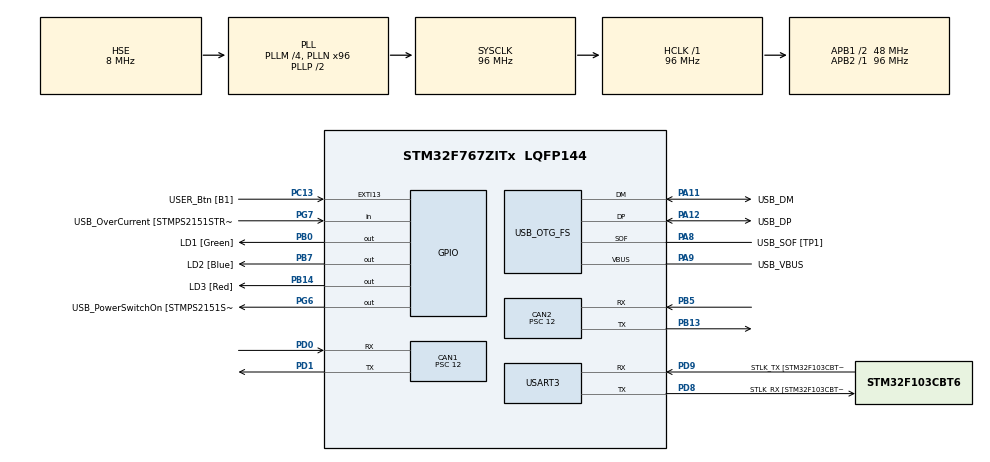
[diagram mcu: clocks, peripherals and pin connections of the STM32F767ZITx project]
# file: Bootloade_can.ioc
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CAN1.BS1=CAN_BS1_13TQ
CAN1.BS2=CAN_BS2_2TQ
CAN1.CalculateBaudRate=250000
CAN1.CalculateTimeBit=4000
CAN1.CalculateTimeQuantum=250.0
CAN1.Prescaler=12
CAN2.BS1=CAN_BS1_13TQ
CAN2.BS2=CAN_BS2_2TQ
CAN2.CalculateBaudRate=250000
CAN2.CalculateTimeBit=4000
CAN2.CalculateTimeQuantum=250.0
CAN2.Prescaler=12
FREERTOS.Tasks01=defaultTask,0,128,StartDefaultTask,Default,NULL,Dynamic,NULL,NULL;myTask02,0,128,StartTask02,Default,NULL,Dynamic,NULL,NULL
FREERTOS.configUSE_NEWLIB_REENTRANT=1
Mcu.Family=STM32F7
Mcu.Name=STM32F767ZITx
Mcu.Package=LQFP144
NVIC.PriorityGroup=NVIC_PRIORITYGROUP_4
NVIC.TIM4_IRQn=true\:15\:0\:false\:false\:true\:false\:false\:true\:true
NVIC.TimeBase=TIM4_IRQn
NVIC.TimeBaseIP=TIM4
PA11.GPIO_Label=USB_DM
PA11.Mode=Device_Only
PA11.Signal=USB_OTG_FS_DM
PA12.GPIO_Label=USB_DP
PA12.Mode=Device_Only
PA12.Signal=USB_OTG_FS_DP
PA13.GPIO_Label=TMS
PA13.Mode=Serial_Wire
PA13.Signal=SYS_JTMS-SWDIO
PA14.GPIO_Label=TCK
PA14.Mode=Serial_Wire
PA14.Signal=SYS_JTCK-SWCLK
PA8.GPIO_Label=USB_SOF [TP1]
PA8.Mode=Activate_SOF_FS
PA8.Signal=USB_OTG_FS_SOF
PA9.GPIO_Label=USB_VBUS
PA9.Mode=Activate_VBUS
PA9.Signal=USB_OTG_FS_VBUS
PB0.GPIO_Label=LD1 [Green]
PB0.Signal=GPIO_Output
PB13.Mode=CAN_Activate
PB13.Signal=CAN2_TX
PB14.GPIO_Label=LD3 [Red]
PB14.Signal=GPIO_Output
PB5.Mode=CAN_Activate
PB5.Signal=CAN2_RX
PB7.GPIO_Label=LD2 [Blue]
PB7.Signal=GPIO_Output
PC13.GPIO_Label=USER_Btn [B1]
PC13.Signal=GPXTI13
PC14/OSC32_IN.Mode=LSE-External-Oscillator
PC14/OSC32_IN.Signal=RCC_OSC32_IN
PC15/OSC32_OUT.Mode=LSE-External-Oscillator
PC15/OSC32_OUT.Signal=RCC_OSC32_OUT
PD0.Mode=CAN_Activate
PD0.Signal=CAN1_RX
PD1.Mode=CAN_Activate
PD1.Signal=CAN1_TX
PD8.GPIO_Label=STLK_RX [STM32F103CBT6_PA3]
PD8.Mode=Asynchronous
PD8.Signal=USART3_TX
PD9.GPIO_Label=STLK_TX [STM32F103CBT6_PA2]
PD9.Mode=Asynchronous
PD9.Signal=USART3_RX
PG6.GPIO_Label=USB_PowerSwitchOn [STMPS2151STR_EN]
PG6.Signal=GPIO_Output
PG7.GPIO_Label=USB_OverCurrent [STMPS2151STR_FAULT]
PG7.Signal=GPIO_Input
PH0/OSC_IN.GPIO_Label=MCO [STM32F103CBT6_PA8]
PH0/OSC_IN.Mode=HSE-External-Clock-Source
PH0/OSC_IN.Signal=RCC_OSC_IN
PH1/OSC_OUT.Mode=HSE-External-Clock-Source
PH1/OSC_OUT.Signal=RCC_OSC_OUT
ProjectManager.HeapSize=0x200
ProjectManager.StackSize=0x400
ProjectManager.TargetToolchain=STM32CubeIDE
RCC.48MHZClocksFreq_Value=24000000
RCC.AHBFreq_Value=96000000
RCC.APB1CLKDivider=RCC_HCLK_DIV2
RCC.APB1Freq_Value=48000000
RCC.APB1TimFreq_Value=96000000
RCC.APB2Freq_Value=96000000
RCC.APB2TimFreq_Value=96000000
RCC.CortexFreq_Value=96000000
RCC.HCLKFreq_Value=96000000
RCC.HSE_VALUE=8000000
RCC.HSI_VALUE=16000000
RCC.PLLM=4
RCC.PLLMUL=RCC_PLL_MUL9
RCC.PLLN=96
RCC.PLLQ=4
RCC.PRESCALERUSB=RCC_USBCLKSOURCE_PLL_DIV1_5
RCC.SYSCLKFreq_VALUE=96000000
RCC.SYSCLKSource=RCC_SYSCLKSOURCE_PLLCLK
RCC.SYSCLKSourceVirtual=RCC_SYSCLKSOURCE_PLLCLK
RCC.USBFreq_Value=48000000
RCC.VCOOutputFreq_Value=192000000
USART3.VirtualMode-Asynchronous=VM_ASYNC
USB_OTG_FS.VirtualMode=Device_Only
VP_FREERTOS_VS_CMSIS_V1.Mode=CMSIS_V1
VP_SYS_VS_tim4.Mode=TIM4
board=NUCLEO-F767ZI

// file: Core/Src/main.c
/* USER CODE BEGIN Header */
//Alessandro ferreira
/**
  ******************************************************************************
  * @file           : main.c
  * @brief          : Main program body
  ******************************************************************************
  * @attention
  *
  * Copyright (c) 2024 STMicroelectronics.
  * All rights reserved.
  *
  * This software is licensed under terms that can be found in the LICENSE file
  * in the root directory of this software component.
  * If no LICENSE file comes with this software, it is provided AS-IS.
  *
  ******************************************************************************
  */
/* USER CODE END Header */
#include "main.h"
#include "cmsis_os.h"

/* USER CODE BEGIN Includes */
#include <stdio.h>
#include <stdlib.h>
#include <stdarg.h>
#include <string.h>
#include <stdbool.h>
/* USER CODE END Includes */

CAN_HandleTypeDef hcan1;
CAN_HandleTypeDef hcan2;

UART_HandleTypeDef huart3;

PCD_HandleTypeDef hpcd_USB_OTG_FS;

osThreadId defaultTaskHandle;
osThreadId myTask02Handle;
/* USER CODE BEGIN PV */
CAN_FilterTypeDef sFilterConfig;
/* USER CODE END PV */

void SystemClock_Config(void);
static void MX_GPIO_Init(void);
static void MX_USART3_UART_Init(void);
static void MX_USB_OTG_FS_PCD_Init(void);
static void MX_CAN1_Init(void);
static void MX_CAN2_Init(void);
void StartDefaultTask(void const * argument);
void StartTask02(void const * argument);

/* USER CODE BEGIN 0 */
uint8_t *debug;
uint32_t debug1;
uint8_t *debug2;
uint8_t debug3;

/* USER CODE END 0 */

int main(void)
{

  /* MCU Configuration--------------------------------------------------------*/

  /* Reset of all peripherals, Initializes the Flash interface and the Systick. */
  HAL_Init();

  /* Configure the system clock */
  SystemClock_Config();

  /* Initialize all configured peripherals */
  MX_GPIO_Init();
  MX_USART3_UART_Init();
  MX_USB_OTG_FS_PCD_Init();
  MX_CAN1_Init();
  MX_CAN2_Init();
  /* USER CODE BEGIN 2 */
	if (HAL_CAN_Start(&hcan2) != HAL_OK) {
		/* Start Error */
		Error_Handler();
	}
  /* USER CODE END 2 */

  /* Create the thread(s) */
  /* definition and creation of defaultTask */
  osThreadDef(defaultTask, StartDefaultTask, osPriorityNormal, 0, 128);
  defaultTaskHandle = osThreadCreate(osThread(defaultTask), NULL);

  /* definition and creation of myTask02 */
  osThreadDef(myTask02, StartTask02, osPriorityNormal, 0, 128);
  myTask02Handle = osThreadCreate(osThread(myTask02), NULL);

  /* Start scheduler */
  osKernelStart();

  /* We should never get here as control is now taken by the scheduler */

  /* Infinite loop */
  while (1)
  {

  }
}

void SystemClock_Config(void)
{
  RCC_OscInitTypeDef RCC_OscInitStruct = {0};
  RCC_ClkInitTypeDef RCC_ClkInitStruct = {0};

  /** Configure LSE Drive Capability
  */
  HAL_PWR_EnableBkUpAccess();

  /** Configure the main internal regulator output voltage
  */
  __HAL_RCC_PWR_CLK_ENABLE();
  __HAL_PWR_VOLTAGESCALING_CONFIG(PWR_REGULATOR_VOLTAGE_SCALE3);

  /** Initializes the RCC Oscillators according to the specified parameters
  * in the RCC_OscInitTypeDef structure.
  */
  RCC_OscInitStruct.OscillatorType = RCC_OSCILLATORTYPE_HSE;
  RCC_OscInitStruct.HSEState = RCC_HSE_BYPASS;
  RCC_OscInitStruct.PLL.PLLState = RCC_PLL_ON;
  RCC_OscInitStruct.PLL.PLLSource = RCC_PLLSOURCE_HSE;
  RCC_OscInitStruct.PLL.PLLM = 4;
  RCC_OscInitStruct.PLL.PLLN = 96;
  RCC_OscInitStruct.PLL.PLLP = RCC_PLLP_DIV2;
  RCC_OscInitStruct.PLL.PLLQ = 4;
  RCC_OscInitStruct.PLL.PLLR = 2;
  if (HAL_RCC_OscConfig(&RCC_OscInitStruct) != HAL_OK)
  {
    Error_Handler();
  }

  /** Activate the Over-Drive mode
  */
  if (HAL_PWREx_EnableOverDrive() != HAL_OK)
  {
    Error_Handler();
  }

  /** Initializes the CPU, AHB and APB buses clocks
  */
  RCC_ClkInitStruct.ClockType = RCC_CLOCKTYPE_HCLK|RCC_CLOCKTYPE_SYSCLK
                              |RCC_CLOCKTYPE_PCLK1|RCC_CLOCKTYPE_PCLK2;
  RCC_ClkInitStruct.SYSCLKSource = RCC_SYSCLKSOURCE_PLLCLK;
  RCC_ClkInitStruct.AHBCLKDivider = RCC_SYSCLK_DIV1;
  RCC_ClkInitStruct.APB1CLKDivider = RCC_HCLK_DIV2;
  RCC_ClkInitStruct.APB2CLKDivider = RCC_HCLK_DIV1;

  if (HAL_RCC_ClockConfig(&RCC_ClkInitStruct, FLASH_LATENCY_3) != HAL_OK)
  {
    Error_Handler();
  }
}

static void MX_CAN1_Init(void)
{

  hcan1.Instance = CAN1;
  hcan1.Init.Prescaler = 12;
  hcan1.Init.Mode = CAN_MODE_NORMAL;
  hcan1.Init.SyncJumpWidth = CAN_SJW_1TQ;
  hcan1.Init.TimeSeg1 = CAN_BS1_13TQ;
  hcan1.Init.TimeSeg2 = CAN_BS2_2TQ;
  hcan1.Init.TimeTriggeredMode = DISABLE;
  hcan1.Init.AutoBusOff = DISABLE;
  hcan1.Init.AutoWakeUp = DISABLE;
  hcan1.Init.AutoRetransmission = DISABLE;
  hcan1.Init.ReceiveFifoLocked = DISABLE;
  hcan1.Init.TransmitFifoPriority = DISABLE;
  if (HAL_CAN_Init(&hcan1) != HAL_OK)
  {
    Error_Handler();
  }
  /* USER CODE BEGIN CAN1_Init 2 */
	/* sFilterConfig.FilterBank = 0;
	 sFilterConfig.FilterMode = CAN_FILTERMODE_IDMASK;
	 sFilterConfig.FilterScale = CAN_FILTERSCALE_32BIT;
	 sFilterConfig.FilterIdHigh = 0;
	 sFilterConfig.FilterIdLow = 0;
	 sFilterConfig.FilterMaskIdHigh = 0;
	 sFilterConfig.FilterMaskIdLow = 0;*/
	sFilterConfig.FilterFIFOAssignment = CAN_RX_FIFO0;
	sFilterConfig.FilterActivation = ENABLE;
// sFilterConfig.SlaveStartFilterBank = 14;
	if (HAL_CAN_ConfigFilter(&hcan1, &sFilterConfig) != HAL_OK) {
		/* Filter configuration Error */
		Error_Handler();
	}
  /* USER CODE END CAN1_Init 2 */

}

static void MX_CAN2_Init(void)
{

  hcan2.Instance = CAN2;
  hcan2.Init.Prescaler = 12;
  hcan2.Init.Mode = CAN_MODE_NORMAL;
  hcan2.Init.SyncJumpWidth = CAN_SJW_1TQ;
  hcan2.Init.TimeSeg1 = CAN_BS1_13TQ;
  hcan2.Init.TimeSeg2 = CAN_BS2_2TQ;
  hcan2.Init.TimeTriggeredMode = DISABLE;
  hcan2.Init.AutoBusOff = DISABLE;
  hcan2.Init.AutoWakeUp = DISABLE;
  hcan2.Init.AutoRetransmission = DISABLE;
  hcan2.Init.ReceiveFifoLocked = DISABLE;
  hcan2.Init.TransmitFifoPriority = DISABLE;
  if (HAL_CAN_Init(&hcan2) != HAL_OK)
  {
    Error_Handler();
  }
  /* USER CODE BEGIN CAN2_Init 2 */
	/* sFilterConfig.FilterBank = 0;
	 sFilterConfig.FilterMode = CAN_FILTERMODE_IDMASK;
	 sFilterConfig.FilterScale = CAN_FILTERSCALE_32BIT;
	 sFilterConfig.FilterIdHigh = 0;
	 sFilterConfig.FilterIdLow = 0;
	 sFilterConfig.FilterMaskIdHigh = 0;
	 sFilterConfig.FilterMaskIdLow = 0;*/
	sFilterConfig.FilterFIFOAssignment = CAN_RX_FIFO0;
	sFilterConfig.FilterActivation = ENABLE;
// sFilterConfig.SlaveStartFilterBank = 14;
	if (HAL_CAN_ConfigFilter(&hcan2, &sFilterConfig) != HAL_OK) {
		/* Filter configuration Error */
		Error_Handler();
	}
  /* USER CODE END CAN2_Init 2 */

}

static void MX_USART3_UART_Init(void)
{

  huart3.Instance = USART3;
  huart3.Init.BaudRate = 115200;
  huart3.Init.WordLength = UART_WORDLENGTH_8B;
  huart3.Init.StopBits = UART_STOPBITS_1;
  huart3.Init.Parity = UART_PARITY_NONE;
  huart3.Init.Mode = UART_MODE_TX_RX;
  huart3.Init.HwFlowCtl = UART_HWCONTROL_NONE;
  huart3.Init.OverSampling = UART_OVERSAMPLING_16;
  huart3.Init.OneBitSampling = UART_ONE_BIT_SAMPLE_DISABLE;
  huart3.AdvancedInit.AdvFeatureInit = UART_ADVFEATURE_NO_INIT;
  if (HAL_UART_Init(&huart3) != HAL_OK)
  {
    Error_Handler();
  }

}

static void MX_USB_OTG_FS_PCD_Init(void)
{

  hpcd_USB_OTG_FS.Instance = USB_OTG_FS;
  hpcd_USB_OTG_FS.Init.dev_endpoints = 6;
  hpcd_USB_OTG_FS.Init.speed = PCD_SPEED_FULL;
  hpcd_USB_OTG_FS.Init.dma_enable = DISABLE;
  hpcd_USB_OTG_FS.Init.phy_itface = PCD_PHY_EMBEDDED;
  hpcd_USB_OTG_FS.Init.Sof_enable = ENABLE;
  hpcd_USB_OTG_FS.Init.low_power_enable = DISABLE;
  hpcd_USB_OTG_FS.Init.lpm_enable = DISABLE;
  hpcd_USB_OTG_FS.Init.vbus_sensing_enable = ENABLE;
  hpcd_USB_OTG_FS.Init.use_dedicated_ep1 = DISABLE;
  if (HAL_PCD_Init(&hpcd_USB_OTG_FS) != HAL_OK)
  {
    Error_Handler();
  }

}

static void MX_GPIO_Init(void)
{
  GPIO_InitTypeDef GPIO_InitStruct = {0};

  /* GPIO Ports Clock Enable */
  __HAL_RCC_GPIOC_CLK_ENABLE();
  __HAL_RCC_GPIOH_CLK_ENABLE();
  __HAL_RCC_GPIOB_CLK_ENABLE();
  __HAL_RCC_GPIOD_CLK_ENABLE();
  __HAL_RCC_GPIOG_CLK_ENABLE();
  __HAL_RCC_GPIOA_CLK_ENABLE();

  /*Configure GPIO pin Output Level */
  HAL_GPIO_WritePin(GPIOB, LD1_Pin|LD3_Pin|LD2_Pin, GPIO_PIN_RESET);

  /*Configure GPIO pin Output Level */
  HAL_GPIO_WritePin(USB_PowerSwitchOn_GPIO_Port, USB_PowerSwitchOn_Pin, GPIO_PIN_RESET);

  /*Configure GPIO pin : USER_Btn_Pin */
  GPIO_InitStruct.Pin = USER_Btn_Pin;
  GPIO_InitStruct.Mode = GPIO_MODE_IT_RISING;
  GPIO_InitStruct.Pull = GPIO_NOPULL;
  HAL_GPIO_Init(USER_Btn_GPIO_Port, &GPIO_InitStruct);

  /*Configure GPIO pins : LD1_Pin LD3_Pin LD2_Pin */
  GPIO_InitStruct.Pin = LD1_Pin|LD3_Pin|LD2_Pin;
  GPIO_InitStruct.Mode = GPIO_MODE_OUTPUT_PP;
  GPIO_InitStruct.Pull = GPIO_NOPULL;
  GPIO_InitStruct.Speed = GPIO_SPEED_FREQ_LOW;
  HAL_GPIO_Init(GPIOB, &GPIO_InitStruct);

  /*Configure GPIO pin : USB_PowerSwitchOn_Pin */
  GPIO_InitStruct.Pin = USB_PowerSwitchOn_Pin;
  GPIO_InitStruct.Mode = GPIO_MODE_OUTPUT_PP;
  GPIO_InitStruct.Pull = GPIO_NOPULL;
  GPIO_InitStruct.Speed = GPIO_SPEED_FREQ_LOW;
  HAL_GPIO_Init(USB_PowerSwitchOn_GPIO_Port, &GPIO_InitStruct);

  /*Configure GPIO pin : USB_OverCurrent_Pin */
  GPIO_InitStruct.Pin = USB_OverCurrent_Pin;
  GPIO_InitStruct.Mode = GPIO_MODE_INPUT;
  GPIO_InitStruct.Pull = GPIO_NOPULL;
  HAL_GPIO_Init(USB_OverCurrent_GPIO_Port, &GPIO_InitStruct);

}

void StartDefaultTask(void const * argument)
{
  /* USER CODE BEGIN 5 */
	CAN_TxHeaderTypeDef TxHeader;
	CAN_RxHeaderTypeDef RxHeader;
	uint32_t TxMailbox = 0;
	uint8_t RxData[8],
	        TxData[8],
	     canstate = 0;
  /* Infinite loop */
  for(;;)
  {
	  HAL_CAN_GetRxFifoFillLevel(&hcan2, CAN_RX_FIFO0);
	  HAL_CAN_GetRxMessage(&hcan2, CAN_RX_FIFO0, &RxHeader, RxData);
	  debug = &RxData;
	  debug1 = RxHeader.ExtId;
	  debug2 = debug + 2;
    osDelay(1);
  }
  /* USER CODE END 5 */
}

void StartTask02(void const * argument)
{
  /* USER CODE BEGIN StartTask02 */
  /* Infinite loop */
  for(;;)
  {
	  HAL_GPIO_TogglePin(LD2_GPIO_Port, LD2_Pin);
    osDelay(500);
  }
  /* USER CODE END StartTask02 */
}

void HAL_TIM_PeriodElapsedCallback(TIM_HandleTypeDef *htim)
{
  if (htim->Instance == TIM4) {
    HAL_IncTick();
  }
}

void Error_Handler(void)
{
  __disable_irq();
  while (1)
  {
  }
}
